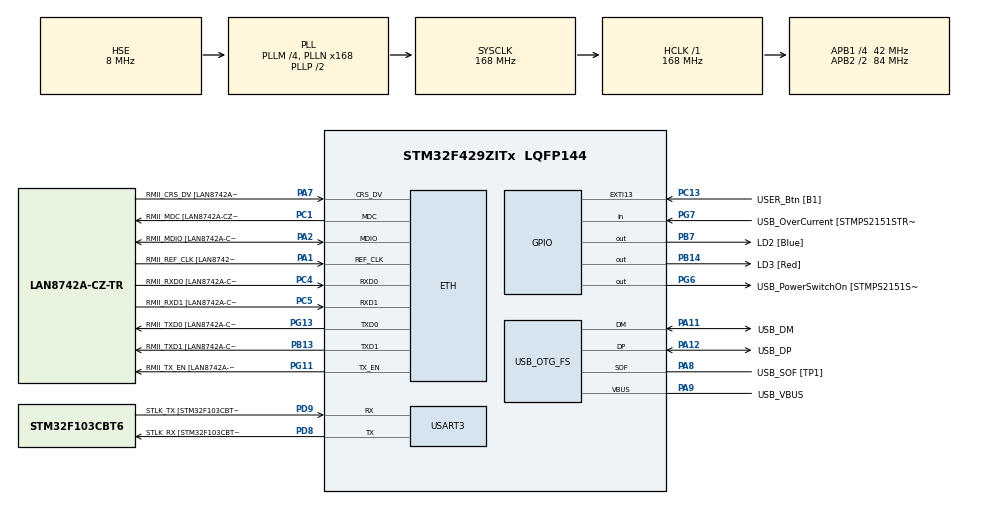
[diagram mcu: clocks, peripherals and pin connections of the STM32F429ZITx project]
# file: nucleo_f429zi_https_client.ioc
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ETH.MediaInterface=ETH_MEDIA_INTERFACE_RMII
ETH.PHY_Name=LAN8742A_PHY_ADDRESS
ETH.PHY_Value=0
ETH.PhyAddress=0
FREERTOS.Tasks01=defaultTask,0,128,StartDefaultTask,Default,NULL
FREERTOS.configTOTAL_HEAP_SIZE=30*1024
LWIP.GATEWAY_ADDRESS=192.168.000.001
LWIP.IP_ADDRESS=192.168.000.010
LWIP.LWIP_DHCP=0
LWIP.NETMASK_ADDRESS=255.255.255.000
LWIP.Version=v2.0.3_Cube
MBEDTLS.MBEDTLS_DEBUG_C=1
MBEDTLS.MBEDTLS_MPI_MAX_SIZE=256
MBEDTLS.MBEDTLS_RSA_C=1
MBEDTLS.MBEDTLS_SHA1_C=1
Mcu.Family=STM32F4
Mcu.Name=STM32F429ZITx
Mcu.Package=LQFP144
NVIC.ETH_IRQn=true\:5\:0\:false\:false\:true\:true\:false
NVIC.OTG_FS_IRQn=true\:5\:0\:false\:false\:true\:true\:false
NVIC.PriorityGroup=NVIC_PRIORITYGROUP_4
NVIC.TIM1_UP_TIM10_IRQn=true\:0\:0\:false\:false\:true\:false\:false
NVIC.TimeBase=TIM1_UP_TIM10_IRQn
NVIC.TimeBaseIP=TIM1
PA1.GPIO_Label=RMII_REF_CLK [LAN8742A-CZ-TR_REFCLK0]
PA1.Mode=RMII
PA1.Signal=ETH_REF_CLK
PA10.GPIO_Label=USB_ID
PA10.Signal=USB_OTG_FS_ID
PA11.GPIO_Label=USB_DM
PA11.Mode=Device_Only
PA11.Signal=USB_OTG_FS_DM
PA12.GPIO_Label=USB_DP
PA12.Mode=Device_Only
PA12.Signal=USB_OTG_FS_DP
PA13.GPIO_Label=TMS
PA13.Mode=Serial_Wire
PA13.Signal=SYS_JTMS-SWDIO
PA14.GPIO_Label=TCK
PA14.Mode=Serial_Wire
PA14.Signal=SYS_JTCK-SWCLK
PA2.GPIO_Label=RMII_MDIO [LAN8742A-CZ-TR_MDIO]
PA2.Mode=RMII
PA2.Signal=ETH_MDIO
PA7.GPIO_Label=RMII_CRS_DV [LAN8742A-CZ-TR_CRS_DV]
PA7.Mode=RMII
PA7.Signal=ETH_CRS_DV
PA8.GPIO_Label=USB_SOF [TP1]
PA8.Mode=Activate_SOF_FS
PA8.Signal=USB_OTG_FS_SOF
PA9.GPIO_Label=USB_VBUS
PA9.Mode=Activate_VBUS
PA9.Signal=USB_OTG_FS_VBUS
PB13.GPIO_Label=RMII_TXD1 [LAN8742A-CZ-TR_TXD1]
PB13.Mode=RMII
PB13.Signal=ETH_TXD1
PB14.GPIO_Label=LD3 [Red]
PB14.Signal=GPIO_Output
PB7.GPIO_Label=LD2 [Blue]
PB7.Signal=GPIO_Output
PC1.GPIO_Label=RMII_MDC [LAN8742A-CZ-TR_MDC]
PC1.Mode=RMII
PC1.Signal=ETH_MDC
PC13.GPIO_Label=USER_Btn [B1]
PC13.Signal=GPXTI13
PC14/OSC32_IN.Mode=LSE-External-Oscillator
PC14/OSC32_IN.Signal=RCC_OSC32_IN
PC15/OSC32_OUT.Mode=LSE-External-Oscillator
PC15/OSC32_OUT.Signal=RCC_OSC32_OUT
PC4.GPIO_Label=RMII_RXD0 [LAN8742A-CZ-TR_RXD0]
PC4.Mode=RMII
PC4.Signal=ETH_RXD0
PC5.GPIO_Label=RMII_RXD1 [LAN8742A-CZ-TR_RXD1]
PC5.Mode=RMII
PC5.Signal=ETH_RXD1
PD8.GPIO_Label=STLK_RX [STM32F103CBT6_PA3]
PD8.Mode=Asynchronous
PD8.Signal=USART3_TX
PD9.GPIO_Label=STLK_TX [STM32F103CBT6_PA2]
PD9.Mode=Asynchronous
PD9.Signal=USART3_RX
PG11.GPIO_Label=RMII_TX_EN [LAN8742A-CZ-TR_TXEN]
PG11.Mode=RMII
PG11.Signal=ETH_TX_EN
PG13.GPIO_Label=RMII_TXD0 [LAN8742A-CZ-TR_TXD0]
PG13.Mode=RMII
PG13.Signal=ETH_TXD0
PG6.GPIO_Label=USB_PowerSwitchOn [STMPS2151STR_EN]
PG6.Signal=GPIO_Output
PG7.GPIO_Label=USB_OverCurrent [STMPS2151STR_FAULT]
PG7.Signal=GPIO_Input
PH0/OSC_IN.GPIO_Label=MCO [STM32F103CBT6_PA8]
PH0/OSC_IN.Mode=HSE-External-Clock-Source
PH0/OSC_IN.Signal=RCC_OSC_IN
PH1/OSC_OUT.Mode=HSE-External-Clock-Source
PH1/OSC_OUT.Signal=RCC_OSC_OUT
ProjectManager.HeapSize=0x200
ProjectManager.StackSize=0x400
ProjectManager.TargetToolchain=SW4STM32
RCC.48MHZClocksFreq_Value=48000000
RCC.AHBFreq_Value=168000000
RCC.APB1CLKDivider=RCC_HCLK_DIV4
RCC.APB1Freq_Value=42000000
RCC.APB1TimFreq_Value=84000000
RCC.APB2CLKDivider=RCC_HCLK_DIV2
RCC.APB2Freq_Value=84000000
RCC.APB2TimCLKDivider=2
RCC.APB2TimFreq_Value=168000000
RCC.CortexFreq_Value=168000000
RCC.HCLKFreq_Value=168000000
RCC.HSE_VALUE=8000000
RCC.HSI_VALUE=16000000
RCC.PLLM=4
RCC.PLLMUL=RCC_PLL_MUL9
RCC.PLLN=168
RCC.PLLQ=7
RCC.PRESCALERUSB=RCC_USBCLKSOURCE_PLL_DIV1_5
RCC.SYSCLKFreq_VALUE=168000000
RCC.SYSCLKSource=RCC_SYSCLKSOURCE_PLLCLK
RCC.SYSCLKSourceVirtual=RCC_SYSCLKSOURCE_PLLCLK
RCC.USBFreq_Value=48000000
RCC.VCOOutputFreq_Value=336000000
USART3.VirtualMode=VM_ASYNC
USB_DEVICE.CLASS_NAME_FS=CDC
USB_DEVICE.VirtualMode-CDC_FS=Cdc
USB_DEVICE.VirtualModeFS=Cdc_FS
USB_OTG_FS.VirtualMode=Device_Only
VP_FREERTOS_VS_ENABLE.Mode=Enabled
VP_LWIP_VS_Enabled.Mode=Enabled
VP_MBEDTLS_VS_MBEDTLS.Mode=Enabled
VP_RNG_VS_RNG.Mode=RNG_Activate
VP_SYS_VS_tim1.Mode=TIM1
VP_USB_DEVICE_VS_USB_DEVICE_CDC_FS.Mode=CDC_FS
board=NUCLEO-F429ZI

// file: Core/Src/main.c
/**
  ******************************************************************************
  * @file           : main.c
  * @brief          : Main program body
  ******************************************************************************
  * This notice applies to any and all portions of this file
  * that are not between comment pairs USER CODE BEGIN and
  * USER CODE END. Other portions of this file, whether
  * inserted by the user or by software development tools
  * are owned by their respective copyright owners.
  *
  * Copyright (c) 2018 STMicroelectronics International N.V.
  * All rights reserved.
  *
  * Redistribution and use in source and binary forms, with or without
  * modification, are permitted, provided that the following conditions are met:
  *
  * 1. Redistribution of source code must retain the above copyright notice,
  *    this list of conditions and the following disclaimer.
  * 2. Redistributions in binary form must reproduce the above copyright notice,
  *    this list of conditions and the following disclaimer in the documentation
  *    and/or other materials provided with the distribution.
  * 3. Neither the name of STMicroelectronics nor the names of other
  *    contributors to this software may be used to endorse or promote products
  *    derived from this software without specific written permission.
  * 4. This software, including modifications and/or derivative works of this
  *    software, must execute solely and exclusively on microcontroller or
  *    microprocessor devices manufactured by or for STMicroelectronics.
  * 5. Redistribution and use of this software other than as permitted under
  *    this license is void and will automatically terminate your rights under
  *    this license.
  *
  * THIS SOFTWARE IS PROVIDED BY STMICROELECTRONICS AND CONTRIBUTORS "AS IS"
  * AND ANY EXPRESS, IMPLIED OR STATUTORY WARRANTIES, INCLUDING, BUT NOT
  * LIMITED TO, THE IMPLIED WARRANTIES OF MERCHANTABILITY, FITNESS FOR A
  * PARTICULAR PURPOSE AND NON-INFRINGEMENT OF THIRD PARTY INTELLECTUAL PROPERTY
  * RIGHTS ARE DISCLAIMED TO THE FULLEST EXTENT PERMITTED BY LAW. IN NO EVENT
  * SHALL STMICROELECTRONICS OR CONTRIBUTORS BE LIABLE FOR ANY DIRECT, INDIRECT,
  * INCIDENTAL, SPECIAL, EXEMPLARY, OR CONSEQUENTIAL DAMAGES (INCLUDING, BUT NOT
  * LIMITED TO, PROCUREMENT OF SUBSTITUTE GOODS OR SERVICES; LOSS OF USE, DATA,
  * OR PROFITS; OR BUSINESS INTERRUPTION) HOWEVER CAUSED AND ON ANY THEORY OF
  * LIABILITY, WHETHER IN CONTRACT, STRICT LIABILITY, OR TORT (INCLUDING
  * NEGLIGENCE OR OTHERWISE) ARISING IN ANY WAY OUT OF THE USE OF THIS SOFTWARE,
  * EVEN IF ADVISED OF THE POSSIBILITY OF SUCH DAMAGE.
  *
  ******************************************************************************
  */
#include "main.h"
#include "stm32f4xx_hal.h"
#include "cmsis_os.h"
#include "mbedtls.h"
#include "usb_device.h"

/* USER CODE BEGIN Includes */
#include "usbd_cdc_if.h"
/* USER CODE END Includes */

RNG_HandleTypeDef hrng;

UART_HandleTypeDef huart3;

osThreadId defaultTaskHandle;

/* USER CODE BEGIN PV */
/* Private variables ---------------------------------------------------------*/

/* USER CODE END PV */

void SystemClock_Config(void);
static void MX_GPIO_Init(void);
static void MX_USART3_UART_Init(void);
static void MX_RNG_Init(void);
void StartDefaultTask(void const * argument);

/* USER CODE BEGIN PFP */
/* Private function prototypes -----------------------------------------------*/

/* USER CODE END PFP */

/* USER CODE BEGIN 0 */
int __io_putchar(int ch)
{
#ifdef USE_USB_LOG
	int r;
	do {
	    r = CDC_Transmit_FS((uint8_t*) &ch, 1);
	} while (r != USBD_OK) ;
#elif defined (USE_USART3_LOG)
	HAL_UART_Transmit(&huart3, (uint8_t *)&ch, 1, 5);
#else
#error 'macro for logging is not specified'
#endif
	return ch;
}
/* USER CODE END 0 */

int main(void)
{

  /* MCU Configuration----------------------------------------------------------*/

  /* Reset of all peripherals, Initializes the Flash interface and the Systick. */
  HAL_Init();

  /* Configure the system clock */
  SystemClock_Config();

  /* Initialize all configured peripherals */
  MX_GPIO_Init();
  MX_USART3_UART_Init();
  MX_RNG_Init();

  /* Create the thread(s) */
  /* definition and creation of defaultTask */
  osThreadDef(defaultTask, StartDefaultTask, osPriorityNormal, 0, 128);
  defaultTaskHandle = osThreadCreate(osThread(defaultTask), NULL);

  /* Start scheduler */
  osKernelStart();

  /* We should never get here as control is now taken by the scheduler */

  /* Infinite loop */
  while (1)
  {

  }

}

void SystemClock_Config(void)
{

  RCC_OscInitTypeDef RCC_OscInitStruct;
  RCC_ClkInitTypeDef RCC_ClkInitStruct;

    /**Configure the main internal regulator output voltage
    */
  __HAL_RCC_PWR_CLK_ENABLE();

  __HAL_PWR_VOLTAGESCALING_CONFIG(PWR_REGULATOR_VOLTAGE_SCALE1);

    /**Initializes the CPU, AHB and APB busses clocks
    */
  RCC_OscInitStruct.OscillatorType = RCC_OSCILLATORTYPE_HSE;
  RCC_OscInitStruct.HSEState = RCC_HSE_BYPASS;
  RCC_OscInitStruct.PLL.PLLState = RCC_PLL_ON;
  RCC_OscInitStruct.PLL.PLLSource = RCC_PLLSOURCE_HSE;
  RCC_OscInitStruct.PLL.PLLM = 4;
  RCC_OscInitStruct.PLL.PLLN = 168;
  RCC_OscInitStruct.PLL.PLLP = RCC_PLLP_DIV2;
  RCC_OscInitStruct.PLL.PLLQ = 7;
  if (HAL_RCC_OscConfig(&RCC_OscInitStruct) != HAL_OK)
  {
    _Error_Handler(__FILE__, __LINE__);
  }

    /**Initializes the CPU, AHB and APB busses clocks
    */
  RCC_ClkInitStruct.ClockType = RCC_CLOCKTYPE_HCLK|RCC_CLOCKTYPE_SYSCLK
                              |RCC_CLOCKTYPE_PCLK1|RCC_CLOCKTYPE_PCLK2;
  RCC_ClkInitStruct.SYSCLKSource = RCC_SYSCLKSOURCE_PLLCLK;
  RCC_ClkInitStruct.AHBCLKDivider = RCC_SYSCLK_DIV1;
  RCC_ClkInitStruct.APB1CLKDivider = RCC_HCLK_DIV4;
  RCC_ClkInitStruct.APB2CLKDivider = RCC_HCLK_DIV2;

  if (HAL_RCC_ClockConfig(&RCC_ClkInitStruct, FLASH_LATENCY_5) != HAL_OK)
  {
    _Error_Handler(__FILE__, __LINE__);
  }

    /**Configure the Systick interrupt time
    */
  HAL_SYSTICK_Config(HAL_RCC_GetHCLKFreq()/1000);

    /**Configure the Systick
    */
  HAL_SYSTICK_CLKSourceConfig(SYSTICK_CLKSOURCE_HCLK);

  /* SysTick_IRQn interrupt configuration */
  HAL_NVIC_SetPriority(SysTick_IRQn, 15, 0);
}

/* RNG init function */
static void MX_RNG_Init(void)
{

  hrng.Instance = RNG;
  if (HAL_RNG_Init(&hrng) != HAL_OK)
  {
    _Error_Handler(__FILE__, __LINE__);
  }

}

/* USART3 init function */
static void MX_USART3_UART_Init(void)
{

  huart3.Instance = USART3;
  huart3.Init.BaudRate = 115200;
  huart3.Init.WordLength = UART_WORDLENGTH_8B;
  huart3.Init.StopBits = UART_STOPBITS_1;
  huart3.Init.Parity = UART_PARITY_NONE;
  huart3.Init.Mode = UART_MODE_TX_RX;
  huart3.Init.HwFlowCtl = UART_HWCONTROL_NONE;
  huart3.Init.OverSampling = UART_OVERSAMPLING_16;
  if (HAL_UART_Init(&huart3) != HAL_OK)
  {
    _Error_Handler(__FILE__, __LINE__);
  }

}

/** Configure pins as
        * Analog
        * Input
        * Output
        * EVENT_OUT
        * EXTI
*/
static void MX_GPIO_Init(void)
{

  GPIO_InitTypeDef GPIO_InitStruct;

  /* GPIO Ports Clock Enable */
  __HAL_RCC_GPIOC_CLK_ENABLE();
  __HAL_RCC_GPIOH_CLK_ENABLE();
  __HAL_RCC_GPIOA_CLK_ENABLE();
  __HAL_RCC_GPIOB_CLK_ENABLE();
  __HAL_RCC_GPIOD_CLK_ENABLE();
  __HAL_RCC_GPIOG_CLK_ENABLE();

  /*Configure GPIO pin Output Level */
  HAL_GPIO_WritePin(GPIOB, LD3_Pin|LD2_Pin, GPIO_PIN_RESET);

  /*Configure GPIO pin Output Level */
  HAL_GPIO_WritePin(USB_PowerSwitchOn_GPIO_Port, USB_PowerSwitchOn_Pin, GPIO_PIN_RESET);

  /*Configure GPIO pin : USER_Btn_Pin */
  GPIO_InitStruct.Pin = USER_Btn_Pin;
  GPIO_InitStruct.Mode = GPIO_MODE_IT_RISING;
  GPIO_InitStruct.Pull = GPIO_NOPULL;
  HAL_GPIO_Init(USER_Btn_GPIO_Port, &GPIO_InitStruct);

  /*Configure GPIO pins : LD3_Pin LD2_Pin */
  GPIO_InitStruct.Pin = LD3_Pin|LD2_Pin;
  GPIO_InitStruct.Mode = GPIO_MODE_OUTPUT_PP;
  GPIO_InitStruct.Pull = GPIO_NOPULL;
  GPIO_InitStruct.Speed = GPIO_SPEED_FREQ_LOW;
  HAL_GPIO_Init(GPIOB, &GPIO_InitStruct);

  /*Configure GPIO pin : USB_PowerSwitchOn_Pin */
  GPIO_InitStruct.Pin = USB_PowerSwitchOn_Pin;
  GPIO_InitStruct.Mode = GPIO_MODE_OUTPUT_PP;
  GPIO_InitStruct.Pull = GPIO_NOPULL;
  GPIO_InitStruct.Speed = GPIO_SPEED_FREQ_LOW;
  HAL_GPIO_Init(USB_PowerSwitchOn_GPIO_Port, &GPIO_InitStruct);

  /*Configure GPIO pin : USB_OverCurrent_Pin */
  GPIO_InitStruct.Pin = USB_OverCurrent_Pin;
  GPIO_InitStruct.Mode = GPIO_MODE_INPUT;
  GPIO_InitStruct.Pull = GPIO_NOPULL;
  HAL_GPIO_Init(USB_OverCurrent_GPIO_Port, &GPIO_InitStruct);

}

/* USER CODE BEGIN 4 */
void Success_Handler(void)
{
  while (1)
  {
	  printf("\nSuccess_Handler()");
      osDelay(1200);
  }
}
/* USER CODE END 4 */

/* StartDefaultTask function */
void StartDefaultTask(void const * argument)
{
  /* MX_LWIP_Init() is generated within mbedtls_net_init() function in net_cockets.c file */
  /* Up to user to call mbedtls_net_init() function in MBEDTLS initialization step */

  /* Up to user define the empty MX_MBEDTLS_Init() function located in mbedtls.c file */
  MX_MBEDTLS_Init();

  /* init code for USB_DEVICE */
  MX_USB_DEVICE_Init();

  /* USER CODE BEGIN 5 */
  /* Start SSL Client task : Connect to SSL server and provide the SSL handshake protocol */
  osThreadDef(Client, SSL_Client, osPriorityHigh, 0, configMINIMAL_STACK_SIZE * 20);
  osThreadCreate (osThread(Client), NULL);

  /* Infinite loop */
  for(;;)
  {
	  /* Delete the start Thread */
	 // osThreadTerminate(NULL);
     HAL_GPIO_TogglePin(LD3_GPIO_Port, LD3_Pin);
     //printf("\nStartDefaultTask()");
	 osDelay(5000);
  }
  /* USER CODE END 5 */
}

void HAL_TIM_PeriodElapsedCallback(TIM_HandleTypeDef *htim)
{
  if (htim->Instance == TIM1) {
    HAL_IncTick();
  }
}

void _Error_Handler(char *file, int line)
{
  /* USER CODE BEGIN Error_Handler_Debug */
  /* User can add his own implementation to report the HAL error return state */
  while(1)
  {
	  printf("\n_Error_Handler(); File : %s; Line: %d", file, line);
      osDelay(1200);
  }
  /* USER CODE END Error_Handler_Debug */
}

/************************ (C) COPYRIGHT STMicroelectronics *****END OF FILE****/
